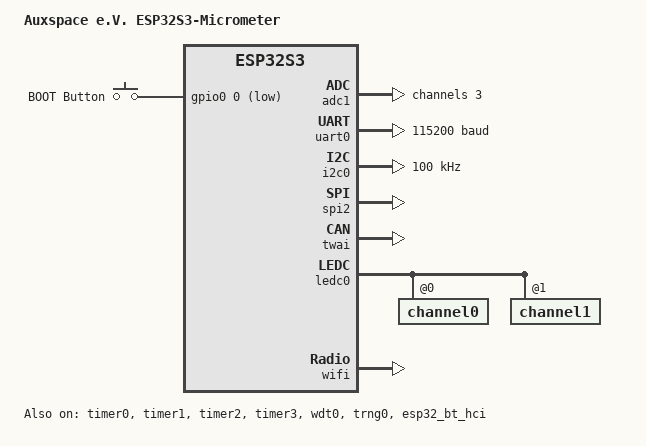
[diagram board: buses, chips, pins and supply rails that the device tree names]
/*
 * Copyright (c) 2024-2025 Espressif Systems (Shanghai) Co., Ltd.
 * Copyright (c) 2026 Auxspace e.V.
 *
 * SPDX-License-Identifier: Apache-2.0
 */
/dts-v1/;

#include <espressif/esp32s3/esp32s3_wroom_n8r8.dtsi>
#include <zephyr/dt-bindings/adc/adc.h>
#include <zephyr/dt-bindings/input/input-event-codes.h>
#include <zephyr/dt-bindings/input/esp32-touch-sensor-input.h>
#include <zephyr/dt-bindings/pwm/pwm.h>
#include <zephyr/dt-bindings/sensor/lps22hh.h>
#include <zephyr/dt-bindings/sensor/lsm6dso.h>
#include <espressif/partitions_0x0_amp.dtsi>
#include "esp32s3_micrometer-pinctrl.dtsi"

/ {
	model = "Auxspace e.V. ESP32S3-Micrometer";
	compatible = "espressif,esp32s3";

	aliases {
		i2c-0 = &i2c0;
		watchdog0 = &wdt0;
	};

	chosen {
		zephyr,sram = &sram1;
		zephyr,console = &uart0;
		zephyr,shell-uart = &uart0;
		zephyr,flash = &flash0;
		zephyr,code-partition = &slot0_partition;
		zephyr,bt-hci = &esp32_bt_hci;
	};

	aliases {
		uart-0 = &uart0;
		sw0 = &button0;
	};

	buttons {
		compatible = "gpio-keys";

		button0: button_0 {
			gpios = <&gpio0 0 (GPIO_PULL_UP | GPIO_ACTIVE_LOW)>;
			label = "BOOT Button";
			zephyr,code = <INPUT_KEY_0>;
		};
	};

	buzzer0: buzzer_0 {
		compatible = "auxspaceev,pwm-buzzer";
		pwms = <&ledc0 0 PWM_MSEC(200) PWM_POLARITY_NORMAL>;
		status = "disabled";
	};

	pwmleds: pwmleds {
		compatible = "pwm-leds";
		status = "disabled";

		red_pwm_led: led_pwm_0 {
			pwms = <&ledc0 1 PWM_MSEC(20) PWM_POLARITY_NORMAL>;
			label = "RED Notifier LED";
		};
	};

	pyro0: pyro_0 {
		compatible = "auxspaceev,basic-pyro";

		trigger-gpios = <&gpio1 13 GPIO_ACTIVE_HIGH>,
				<&gpio1 16 GPIO_ACTIVE_HIGH>;
		arm-gpios = <&gpio0 21 GPIO_ACTIVE_HIGH>;
		capv-adcs = <&adc1 3>;
		status = "disabled";
	};
};

&adc1 {
	#address-cells = <1>;
	#size-cells = <0>;

	channel@3 {
		reg = <3>;
		zephyr,gain = "ADC_GAIN_1_4";
		zephyr,reference = "ADC_REF_INTERNAL";
		zephyr,acquisition-time = <ADC_ACQ_TIME_DEFAULT>;
		zephyr,resolution = <12>;
	};
};

&usb_serial {
	status = "disabled";
};

&uart0 {
	status = "okay";
	current-speed = <115200>;
	pinctrl-0 = <&uart0_default>;
	pinctrl-names = "default";
};

&gpio0 {
	status = "okay";
};

&gpio1 {
	status = "okay";
};

&adc1 {
	status = "okay";
};

&touch {
	debounce-interval-ms = <30>;
	href-microvolt = <2700000>;
	lref-microvolt = <500000>;
	href-atten-microvolt = <1000000>;
	filter-mode = <ESP32_TOUCH_FILTER_MODE_IIR_16>;
	filter-debounce-cnt = <1>;
	filter-noise-thr = <ESP32_TOUCH_FILTER_NOISE_THR_4_8TH>;
	filter-jitter-step = <4>;
	filter-smooth-level = <ESP32_TOUCH_FILTER_SMOOTH_MODE_IIR_2>;
};

&i2c0 {
	clock-frequency = <I2C_BITRATE_STANDARD>;
	pinctrl-0 = <&i2c0_default>;
	pinctrl-names = "default";

	lsm6dso320: lsm6dso32@6b {
		compatible = "st,lsm6dso32";
		reg = <0x6b>;
		irq-gpios = <&gpio0 9 GPIO_ACTIVE_HIGH>;
		int-pin = <1>;
		accel-odr = <LSM6DSO_DT_ODR_52Hz>;
		gyro-odr = <LSM6DSO_DT_ODR_52Hz>;
		status = "disabled";
	};

	lps22hh0: lps22hh@5d {
		compatible = "st,lps22hh";
		reg = <0x5d>;
		drdy-gpios = <&gpio0 10 GPIO_ACTIVE_HIGH>;
		odr = <LPS22HH_DT_ODR_50HZ>;
		status = "disabled";
	};
};

&i2c1 {
	clock-frequency = <I2C_BITRATE_STANDARD>;
	pinctrl-0 = <&i2c1_default>;
	pinctrl-names = "default";
	status = "disabled";
};

&i2s0 {
	pinctrl-0 = <&i2s0_default>;
	pinctrl-names = "default";
};

&i2s1 {
	pinctrl-0 = <&i2s1_default>;
	pinctrl-names = "default";
};

&spi2 {
	#address-cells = <1>;
	#size-cells = <0>;
	status = "okay";
	pinctrl-0 = <&spim2_default>;
	pinctrl-names = "default";

	cs-gpios = <&gpio0 4 GPIO_ACTIVE_LOW>;

	sdhc2: sdhc@0 {
		compatible = "zephyr,sdhc-spi-slot";
		reg = <0>;
		status = "disabled";
		spi-max-frequency = <25000000>;

		mmc0: mmc_0 {
			status = "okay";
			compatible = "zephyr,sdmmc-disk";
			disk-name = "MMC";
		};
	};
};

&spi3 {
	status = "disabled";
};

&twai {
	pinctrl-0 = <&twai_default>;
	pinctrl-names = "default";
	status = "okay";
};

&timer0 {
	status = "okay";
};

&timer1 {
	status = "okay";
};

&timer2 {
	status = "okay";
};

&timer3 {
	status = "okay";
};

&wdt0 {
	status = "okay";
};

&trng0 {
	status = "okay";
};

&esp32_bt_hci {
	status = "okay";
};

&ledc0 {
	#address-cells = <1>;
	#size-cells = <0>;
	status = "okay";
	pinctrl-0 = <&ledc0_default>;
	pinctrl-names = "default";

	channel0@0 {
		reg = <0x0>;
		timer = <0>;
	};

	channel1@1 {
		reg = <0x1>;
		timer = <0>;
	};
};

&wifi {
	status = "okay";
};
